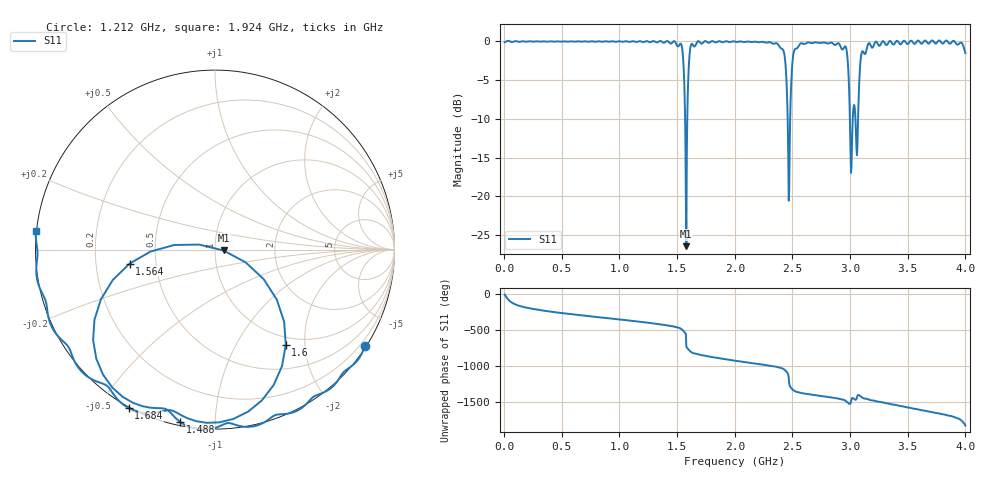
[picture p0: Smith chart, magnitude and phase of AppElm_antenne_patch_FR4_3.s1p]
! TOUCHSTONE file generated by CST MICROWAVE STUDIO
! Date and time: Tue Jun 14 14:31:13 2022
! Project name: AppElm_antenne_patch_FR4.cst
! Parameters = {L=45; W=58.5; e=0.035; h=1.6; lambda=0.190476; ls=102; w0=2.54; w1=0.847; ws=120; y0=18; y1=23.8}
! Header version: 2018
! Port assignment regex: !\s*Touchstone port\s*([0-9]+)\s*=\s*(CST MWS port|CST DS port)\s*([0-9]+|Zmin|Zmax)\s*\(\"(.*)\"\)(\s*mode\s*([0-9]+))?.*
! Touchstone port assignment:
! Touchstone port 1 = CST MWS port 1 ("")
# GHz S MA R 50
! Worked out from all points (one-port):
!   1000 points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, 4 MHz to 4 GHz, reference 50 ohm
!   lowest |S11| = -26.4 dB at 1.58 GHz (marker M1), VSWR 1.10, Z = 55 - j0.548 ohm
!   |S11| at or under -10 dB: 2.459 GHz to 2.48 GHz (21.86 MHz wide, 0.885 % of centre); 2.998 GHz to 3.023 GHz (24.93 MHz wide, 0.828 % of centre); 3.046 GHz to 3.069 GHz (22.96 MHz wide, 0.751 % of centre)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
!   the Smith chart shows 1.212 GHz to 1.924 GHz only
!   S11 on the Smith chart (normalised r, x): 1.212 GHz: 0.04, -3.39; 1.488 GHz: 0.02, -0.82; 1.564 GHz: 0.35, -0.07; 1.6 GHz: 0.87, -1.64; 1.684 GHz: -0.00, -0.59; 1.924 GHz: -0.00, +0.05
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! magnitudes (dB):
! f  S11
! 4 MHz  -0.1
! 504 MHz  0.0
! 1.004 GHz  0.0
! 1.212 GHz  -0.1
! 1.488 GHz  -0.2
! 1.504 GHz  -0.6
! 1.544 GHz  -0.9
! 1.564 GHz  -6.3
! 1.58 GHz  -26.4
! 1.6 GHz  -3.6
! 1.62 GHz  -0.5
! 1.684 GHz  0.0
! 1.924 GHz  0.0
! 2.004 GHz  0.0
! 2.408 GHz  -0.9
! 2.436 GHz  -2.3
! 2.468 GHz  -20.5
! 2.484 GHz  -7.8
! 2.504 GHz  -2.1
! 2.58 GHz  -0.2
! 2.952 GHz  -0.7
! 2.976 GHz  -1.9
! 3.004 GHz  -14.3
! 3.056 GHz  -14.0
! 3.1 GHz  -1.5
! 3.156 GHz  -0.4
! 3.504 GHz  -0.3
! 4 GHz  -1.5
